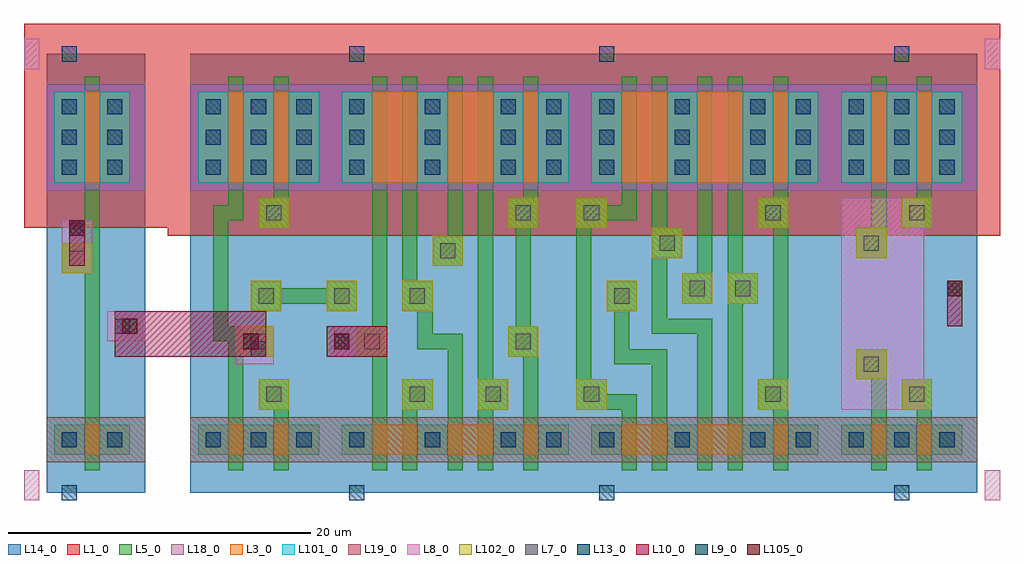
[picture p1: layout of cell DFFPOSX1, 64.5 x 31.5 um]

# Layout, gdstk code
import gdstk
lib = gdstk.Library(unit=1e-6, precision=1e-09)
def R(c, l, rs):  # rectangles x0, y0, x1, y1
    for r in rs: c.add(gdstk.rectangle(r[:2], r[2:], *l))
def A(c, l, x, y, w, h, nx, ny, dx, dy):  # array of equal rectangles
    R(c, l, [(x+i*dx, y+j*dy, x+i*dx+w, y+j*dy+h) for i in range(nx) for j in range(ny)])
def P(c, l, *ps):  # polygons
    for p in ps: c.add(gdstk.Polygon(p, *l))
L1_0 = (1, 0)
L3_0 = (3, 0)
L5_0 = (5, 0)
L7_0 = (7, 0)
L8_0 = (8, 0)
L9_0 = (9, 0)
L10_0 = (10, 0)
L13_0 = (13, 0)
L14_0 = (14, 0)
L18_0 = (18, 0)
L19_0 = (19, 0)
L101_0 = (101, 0)
L102_0 = (102, 0)
L105_0 = (105, 0)

dffposx1 = lib.new_cell('DFFPOSX1')
R(dffposx1, L1_0, [(9.5,17,64.5,31), (0,17.5,9.5,31)])
R(dffposx1, L3_0, [(2,2.5,7,4.5), (11.5,2.5,19.5,4.5), (21,2.5,36,4.5), (37.5,2.5,52.5,4.5), (54,2.5,62,4.5), (2,20.5,7,26.5), (11.5,20.5,19.5,26.5), (21,20.5,36,26.5), (37.5,20.5,52.5,26.5), (54,20.5,62,26.5)])
P(dffposx1, L5_0, [(4,1.5),(4,14.5),(2.5,14.5),(2.5,16.5),(4,16.5),(4,27.5),(5,27.5),(5,1.5)],
  [(16.5,1.5),(16.5,5.5),(15.5,5.5),(15.5,7.5),(17.5,7.5),(17.5,1.5)],
  [(25,1.5),(25,7.5),(27,7.5),(27,5.5),(26,5.5),(26,1.5)],
  [(59,1.5),(59,5.5),(58,5.5),(58,7.5),(60,7.5),(60,1.5)],
  [(56,1.5),(56,7.5),(55,7.5),(55,9.5),(57,9.5),(57,1.5)],
  [(15,12),(15,14),(17,14),(17,13.5),(20,13.5),(20,14),(22,14),(22,12),(20,12),(20,12.5),(17,12.5),(17,12)],
  [(41.5,1.5),(41.5,8.5),(39,8.5),(39,12),(38.5,12),(38.5,14),(40.5,14),(40.5,12),(40,12),(40,9.5),(42.5,9.5),(42.5,1.5)],
  [(13.5,1.5),(13.5,10),(12.5,10),(12.5,19),(13.5,19),(13.5,27.5),(14.5,27.5),(14.5,18),(13.5,18),(13.5,11),(16.5,11),(16.5,9),(14.5,9),(14.5,1.5)],
  [(15.5,17.5),(15.5,19.5),(16.5,19.5),(16.5,27.5),(17.5,27.5),(17.5,17.5)],
  [(23,1.5),(23,9),(22,9),(22,11),(23,11),(23,27.5),(24,27.5),(24,1.5)],
  [(28,1.5),(28,9.5),(26,9.5),(26,12),(25,12),(25,27.5),(26,27.5),(26,14),(27,14),(27,10.5),(29,10.5),(29,1.5)],
  [(27,15),(27,17),(28,17),(28,27.5),(29,27.5),(29,15)],
  [(30,1.5),(30,27.5),(31,27.5),(31,7.5),(32,7.5),(32,5.5),(31,5.5),(31,1.5)],
  [(33,1.5),(33,9),(32,9),(32,11),(32.5,11),(32.5,17.5),(32,17.5),(32,19.5),(33,19.5),(33,27.5),(34,27.5),(34,17.5),(33.5,17.5),(33.5,11),(34,11),(34,1.5)],
  [(39.5,1.5),(39.5,5.5),(36.5,5.5),(36.5,19.5),(38.5,19.5),(38.5,19),(39.5,19),(39.5,27.5),(40.5,27.5),(40.5,18),(38.5,18),(38.5,17.5),(37.5,17.5),(37.5,7.5),(38.5,7.5),(38.5,6.5),(40.5,6.5),(40.5,1.5)],
  [(44.5,1.5),(44.5,10.5),(41.5,10.5),(41.5,27.5),(42.5,27.5),(42.5,17.5),(43.5,17.5),(43.5,15.5),(42.5,15.5),(42.5,11.5),(45.5,11.5),(45.5,1.5)],
  [(43.5,12.5),(43.5,14.5),(44.5,14.5),(44.5,27.5),(45.5,27.5),(45.5,12.5)],
  [(46.5,1.5),(46.5,27.5),(47.5,27.5),(47.5,14.5),(48.5,14.5),(48.5,12.5),(47.5,12.5),(47.5,1.5)],
  [(49.5,1.5),(49.5,5.5),(48.5,5.5),(48.5,7.5),(49.5,7.5),(49.5,17.5),(48.5,17.5),(48.5,19.5),(49.5,19.5),(49.5,27.5),(50.5,27.5),(50.5,1.5)],
  [(55,15.5),(55,17.5),(56,17.5),(56,27.5),(57,27.5),(57,15.5)],
  [(58,17.5),(58,19.5),(59,19.5),(59,27.5),(60,27.5),(60,17.5)])
A(dffposx1, L7_0, 12, 3, 1, 1, 3, 2, 3, 18)
A(dffposx1, L7_0, 21.5, 3, 1, 1, 3, 2, 5, 18)
A(dffposx1, L7_0, 38, 3, 1, 1, 3, 2, 5, 18)
A(dffposx1, L7_0, 54.5, 3, 1, 1, 3, 2, 3, 18)
A(dffposx1, L7_0, 15.5, 12.5, 1, 1, 3, 1, 5, 0)
A(dffposx1, L7_0, 2.5, 21, 1, 1, 1, 3, 0, 2)
A(dffposx1, L7_0, 5.5, 21, 1, 1, 1, 3, 0, 2)
A(dffposx1, L7_0, 34.5, 21, 1, 1, 1, 3, 0, 2)
A(dffposx1, L7_0, 51, 21, 1, 1, 1, 3, 0, 2)
A(dffposx1, L7_0, 12, 23, 1, 1, 3, 2, 3, 2)
A(dffposx1, L7_0, 21.5, 23, 1, 1, 3, 2, 5, 2)
A(dffposx1, L7_0, 38, 23, 1, 1, 3, 2, 5, 2)
A(dffposx1, L7_0, 54.5, 23, 1, 1, 3, 2, 3, 2)
R(dffposx1, L7_0, [(2.5,3,3.5,4), (5.5,3,6.5,4), (34.5,3,35.5,4), (51,3,52,4), (16,6,17,7), (25.5,6,26.5,7), (30.5,6,31.5,7), (37,6,38,7), (49,6,50,7), (58.5,6,59.5,7), (55.5,8,56.5,9), (15,9.5,16,10.5), (22.5,9.5,23.5,10.5), (32.5,9.5,33.5,10.5), (39,12.5,40,13.5), (44,13,45,14), (47,13,48,14), (3,15,4,16), (27.5,15.5,28.5,16.5), (42,16,43,17), (55.5,16,56.5,17), (16,18,17,19), (32.5,18,33.5,19), (37,18,38,19), (49,18,50,19), (58.5,18,59.5,19)])
R(dffposx1, L8_0, [(0,-0.5,1,1.5), (63.5,-0.5,64.5,1.5), (54,5.5,59.5,19.5), (14,8.5,16.5,11), (20.5,9,24,11), (5.5,10,8,12), (2.5,14.5,4.5,18), (0,28,1,30), (63.5,28,64.5,30)])
R(dffposx1, L9_0, [(14.5,9.5,15.5,10.5), (20.5,9.5,21.5,10.5), (6.5,10.5,7.5,11.5), (61,13,62,14), (3,17,4,18)])
R(dffposx1, L10_0, [(6,9,16,12), (20,9,24,11), (61,11,62,14), (3,15,4,18)])
A(dffposx1, L13_0, 12, 3, 1, 1, 3, 2, 3, 18)
A(dffposx1, L13_0, 21.5, 3, 1, 1, 3, 2, 5, 18)
A(dffposx1, L13_0, 38, 3, 1, 1, 3, 2, 5, 18)
A(dffposx1, L13_0, 54.5, 3, 1, 1, 3, 2, 3, 18)
A(dffposx1, L13_0, 2.5, 21, 1, 1, 1, 3, 0, 2)
A(dffposx1, L13_0, 5.5, 21, 1, 1, 1, 3, 0, 2)
A(dffposx1, L13_0, 34.5, 21, 1, 1, 1, 3, 0, 2)
A(dffposx1, L13_0, 51, 21, 1, 1, 1, 3, 0, 2)
A(dffposx1, L13_0, 12, 23, 1, 1, 3, 2, 3, 2)
A(dffposx1, L13_0, 21.5, 23, 1, 1, 3, 2, 5, 2)
A(dffposx1, L13_0, 38, 23, 1, 1, 3, 2, 5, 2)
A(dffposx1, L13_0, 54.5, 23, 1, 1, 3, 2, 3, 2)
R(dffposx1, L13_0, [(2.5,-0.5,3.5,0.5), (21.5,-0.5,22.5,0.5), (38,-0.5,39,0.5), (57.5,-0.5,58.5,0.5), (2.5,3,3.5,4), (5.5,3,6.5,4), (34.5,3,35.5,4), (51,3,52,4), (15,9,16,10), (20.5,9.5,21.5,10.5), (6,10.5,7,11.5), (61,13,62,14), (3,17,4,18), (2.5,28.5,3.5,29.5), (21.5,28.5,22.5,29.5), (38,28.5,39,29.5), (57.5,28.5,58.5,29.5)])
R(dffposx1, L14_0, [(1.5,0,8,29), (11,0,63,29)])
R(dffposx1, L18_0, [(1.5,20,8,27), (11,20,63,27)])
R(dffposx1, L19_0, [(1.5,2,8,5), (11,2,63,5)])
A(dffposx1, L101_0, 11.5, 2.5, 2, 2, 3, 1, 3, 0)
A(dffposx1, L101_0, 21, 2.5, 2, 2, 3, 1, 5, 0)
A(dffposx1, L101_0, 37.5, 2.5, 2, 2, 3, 1, 5, 0)
A(dffposx1, L101_0, 54, 2.5, 2, 2, 3, 1, 3, 0)
A(dffposx1, L101_0, 11.5, 20.5, 2, 6, 3, 1, 3, 0)
A(dffposx1, L101_0, 21, 20.5, 2, 6, 3, 1, 5, 0)
A(dffposx1, L101_0, 37.5, 20.5, 2, 6, 3, 1, 5, 0)
A(dffposx1, L101_0, 54, 20.5, 2, 6, 3, 1, 3, 0)
R(dffposx1, L101_0, [(2,2.5,4,4.5), (5,2.5,7,4.5), (34,2.5,36,4.5), (50.5,2.5,52.5,4.5), (2,20.5,4,26.5), (5,20.5,7,26.5), (34,20.5,36,26.5), (50.5,20.5,52.5,26.5)])
A(dffposx1, L102_0, 15, 12, 2, 2, 3, 1, 5, 0)
R(dffposx1, L102_0, [(15.5,5.5,17.5,7.5), (25,5.5,27,7.5), (30,5.5,32,7.5), (36.5,5.5,38.5,7.5), (48.5,5.5,50.5,7.5), (58,5.5,60,7.5), (55,7.5,57,9.5), (14.5,9,16.5,11), (22,9,24,11), (32,9,34,11), (38.5,12,40.5,14), (43.5,12.5,45.5,14.5), (46.5,12.5,48.5,14.5), (2.5,14.5,4.5,16.5), (27,15,29,17), (41.5,15.5,43.5,17.5), (55,15.5,57,17.5), (15.5,17.5,17.5,19.5), (32,17.5,34,19.5), (36.5,17.5,38.5,19.5), (48.5,17.5,50.5,19.5), (58,17.5,60,19.5)])
R(dffposx1, L105_0, [(14.5,9.5,15.5,10.5), (20.5,9.5,21.5,10.5), (6.5,10.5,7.5,11.5), (61,13,62,14), (3,17,4,18)])

lib.write_gds('DFFPOSX1.gds')
